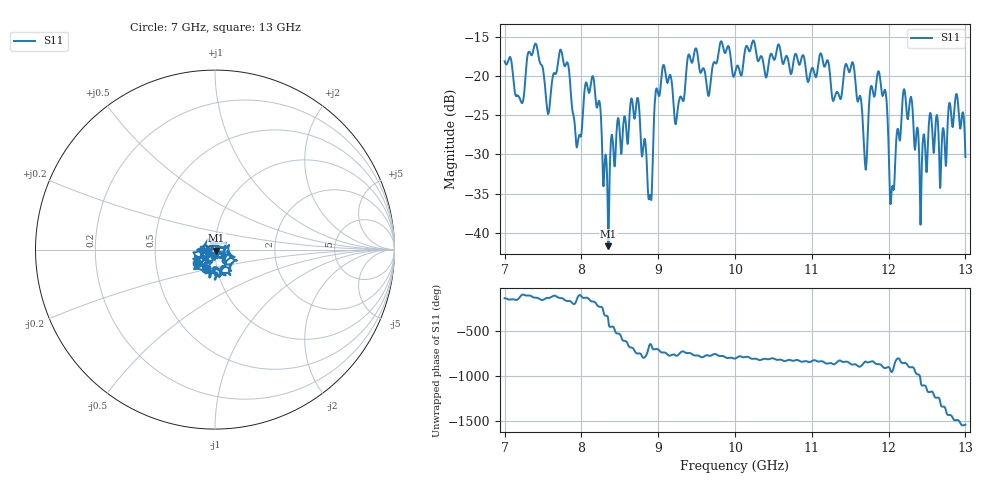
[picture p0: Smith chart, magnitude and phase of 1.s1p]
[Version] 2.0
! Rohde & Schwarz Vector Network Analyzer
! Rohde-Schwarz,ZNL20-2Port,1323001220200009,1.71.1.10-23.02.1.238
! Trace info:
! Nominal Param -> Actual Exported Buffer
! S11 -> S22
! Created: GMT+3 2024-09-24 16:36:38
# Hz S DB R 50
[Number of Ports] 1
! freq[Hz]  S11[mag dB]  S11[ang]
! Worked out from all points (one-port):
!   6001 points, 7 GHz to 13 GHz, reference 50 ohm
!   lowest |S11| = -41.7 dB at 8.352 GHz (marker M1), VSWR 1.02, Z = 50.6 - j0.526 ohm
!   |S11| at or under -10 dB: start of sweep to end of sweep
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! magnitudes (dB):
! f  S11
! 7 GHz  -18.1
! 7.222 GHz  -23.4
! 7.407 GHz  -15.9
! 7.568 GHz  -24.9
! 7.75 GHz  -17.3
! 7.951 GHz  -28.6
! 8.153 GHz  -20.1
! 8.352 GHz  -41.7
! 8.5 GHz  -27.3
! 8.733 GHz  -22.8
! 8.892 GHz  -35.2
! 8.967 GHz  -22.0
! 9.062 GHz  -18.7
! 9.25 GHz  -24.6
! 9.485 GHz  -16.5
! 10 GHz  -19.6
! 10.75 GHz  -18.9
! 11.5 GHz  -19.3
! 11.7 GHz  -31.8
! 11.88 GHz  -19.6
! 11.96 GHz  -22.3
! 12.04 GHz  -34.4
! 12.19 GHz  -21.9
! 12.25 GHz  -25.5
! 12.42 GHz  -38.5
! 12.54 GHz  -24.7
! 12.88 GHz  -22.3
! 13 GHz  -30.3
